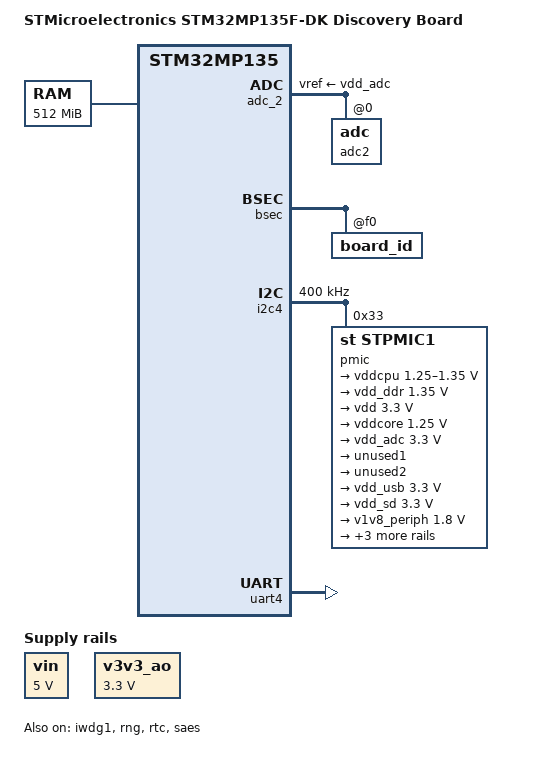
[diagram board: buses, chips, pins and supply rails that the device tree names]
// SPDX-License-Identifier: (GPL-2.0+ OR BSD-3-Clause)
/*
 * Copyright (C) STMicroelectronics 2021-2023 - All Rights Reserved
 * Author: Alexandre Torgue <alexandre.torgue@foss.st.com> for STMicroelectronics.
 */

/dts-v1/;

#include <dt-bindings/clock/stm32mp13-clksrc.h>
#include <dt-bindings/gpio/gpio.h>
#include <dt-bindings/gpio/stm32mp_gpio.h>
#include <dt-bindings/regulator/st,stm32mp13-regulator.h>
#include "stm32mp135.dtsi"
#include "stm32mp13xf.dtsi"
#include "stm32mp13-pinctrl.dtsi"

/ {
	model = "STMicroelectronics STM32MP135F-DK Discovery Board";
	compatible = "st,stm32mp135f-dk", "st,stm32mp135";

	aliases {
		serial0 = &uart4;
		serial1 = &usart1;
	};

	chosen {
		stdout-path = "serial0:115200n8";
	};

	memory@c0000000 {
		device_type = "memory";
		reg = <0xc0000000 0x20000000>;
	};

	reserved-memory {
		#address-cells = <1>;
		#size-cells = <1>;
		ranges;

		optee_framebuffer: optee-framebuffer@dd000000 {
			/* Secure framebuffer memory */
			reg = <0xdd000000 0x1000000>;
			no-map;
		};
	};

	vin: vin {
		compatible = "regulator-fixed";
		regulator-name = "vin";
		regulator-min-microvolt = <5000000>;
		regulator-max-microvolt = <5000000>;
		regulator-always-on;
	};

	v3v3_ao: v3v3_ao {
		compatible = "regulator-fixed";
		regulator-name = "v3v3_ao";
		regulator-min-microvolt = <3300000>;
		regulator-max-microvolt = <3300000>;
		regulator-always-on;
	};
};

&adc_2 {
	vdda-supply = <&vdd_adc>;
	vref-supply = <&vdd_adc>;
	status = "okay";

	adc2: adc@0 {
		status = "okay";

		channel@15 {
			reg = <15>;
			label = "vbat";
		};
	};
};

&bsec {
	board_id: board_id@f0 {
		reg = <0xf0 0x4>;
		st,non-secure-otp;
	};
};

&gpiob {
	st,protreg = <TZPROT(9)>;
};

&gpiod {
	st,protreg = <TZPROT(7)>;
};

&gpioe {
	st,protreg = <TZPROT(15)>;
};

&i2c4 {
	pinctrl-names = "default";
	pinctrl-0 = <&i2c4_pins_a>;
	i2c-scl-rising-time-ns = <185>;
	i2c-scl-falling-time-ns = <20>;
	clock-frequency = <400000>;
	status = "okay";

	pmic: stpmic@33 {
		compatible = "st,stpmic1";
		reg = <0x33>;
		status = "okay";
		st,wakeup-pin-number = <1>;
		st,notif-it-id = <0>;

		regulators {
			compatible = "st,stpmic1-regulators";
			buck1-supply = <&vin>;
			buck2-supply = <&vin>;
			buck3-supply = <&vin>;
			buck4-supply = <&vin>;
			ldo1-supply = <&vin>;
			ldo4-supply = <&vin>;
			ldo5-supply = <&vin>;
			ldo6-supply = <&vin>;
			vref_ddr-supply = <&vin>;
			pwr_sw1-supply = <&bst_out>;
			pwr_sw2-supply = <&v3v3_ao>;

			vddcpu: buck1 {
				regulator-name = "vddcpu";
				regulator-min-microvolt = <1250000>;
				regulator-max-microvolt = <1350000>;
				regulator-always-on;
				regulator-over-current-protection;

				lp-stop {
					regulator-suspend-microvolt = <1250000>;
				};
				lplv-stop {
					regulator-suspend-microvolt = <900000>;
				};
				lplv-stop2 {
					regulator-off-in-suspend;
				};
				standby-ddr-sr {
					regulator-off-in-suspend;
				};
				standby-ddr-off {
					regulator-off-in-suspend;
				};
			};

			vdd_ddr: buck2 {
				regulator-name = "vdd_ddr";
				regulator-min-microvolt = <1350000>;
				regulator-max-microvolt = <1350000>;
				regulator-always-on;
				regulator-over-current-protection;

				standby-ddr-off {
					regulator-off-in-suspend;
				};
			};

			vdd: buck3 {
				regulator-name = "vdd";
				regulator-min-microvolt = <3300000>;
				regulator-max-microvolt = <3300000>;
				regulator-always-on;
				st,mask-reset;
				regulator-over-current-protection;
			};

			vddcore: buck4 {
				regulator-name = "vddcore";
				regulator-min-microvolt = <1250000>;
				regulator-max-microvolt = <1250000>;
				regulator-always-on;
				regulator-over-current-protection;

				lplv-stop {
					regulator-suspend-microvolt = <900000>;
				};
				lplv-stop2 {
					regulator-suspend-microvolt = <900000>;
				};
				standby-ddr-sr {
					regulator-off-in-suspend;
				};
				standby-ddr-off {
					regulator-off-in-suspend;
				};
			};

			vdd_adc: ldo1 {
				regulator-name = "vdd_adc";
				regulator-min-microvolt = <3300000>;
				regulator-max-microvolt = <3300000>;

				standby-ddr-sr {
					regulator-off-in-suspend;
				};
				standby-ddr-off {
					regulator-off-in-suspend;
				};
			};

			unused1: ldo2 {
				regulator-name = "ldo2";
			};

			unused2: ldo3 {
				regulator-name = "ldo3";
			};

			vdd_usb: ldo4 {
				regulator-name = "vdd_usb";
				regulator-min-microvolt = <3300000>;
				regulator-max-microvolt = <3300000>;

				standby-ddr-sr {
					regulator-off-in-suspend;
				};
				standby-ddr-off {
					regulator-off-in-suspend;
				};
			};

			vdd_sd: ldo5 {
				regulator-name = "vdd_sd";
				regulator-min-microvolt = <3300000>;
				regulator-max-microvolt = <3300000>;
				regulator-boot-on;

				standby-ddr-sr {
					regulator-off-in-suspend;
				};
				standby-ddr-off {
					regulator-off-in-suspend;
				};
			};

			v1v8_periph: ldo6 {
				regulator-name = "v1v8_periph";
				regulator-min-microvolt = <1800000>;
				regulator-max-microvolt = <1800000>;

				standby-ddr-sr {
					regulator-off-in-suspend;
				};
				standby-ddr-off {
					regulator-off-in-suspend;
				};
			};

			vref_ddr: vref_ddr {
				regulator-name = "vref_ddr";
				regulator-always-on;

				standby-ddr-sr {
					regulator-off-in-suspend;
				};
				standby-ddr-off {
					regulator-off-in-suspend;
				};
			};

			bst_out: boost {
				regulator-name = "bst_out";
			};

			v3v3_sw: pwr_sw2 {
				regulator-name = "v3v3_sw";
				regulator-active-discharge = <1>;
				regulator-min-microvolt = <3300000>;
				regulator-max-microvolt = <3300000>;
			};
		};
	};
};

&iwdg1 {
	timeout-sec = <32>;
	status = "okay";
};

&oem_enc_key {
	st,non-secure-otp-provisioning;
};

&pwr_regulators {
	vdd-supply = <&vdd>;
	vdd_3v3_usbfs-supply = <&vdd_usb>;
};

&rcc {
	compatible = "st,stm32mp13-rcc", "syscon";

	st,clksrc = <
		CLK_MPU_PLL1P
		CLK_AXI_PLL2P
		CLK_MLAHBS_PLL3
		CLK_RTC_LSE
		CLK_MCO1_HSE
		CLK_MCO2_DISABLED
		CLK_CKPER_HSE
		CLK_ETH1_PLL4P
		CLK_ETH2_PLL4P
		CLK_SDMMC1_PLL4P
		CLK_SDMMC2_PLL4P
		CLK_STGEN_HSE
		CLK_USBPHY_HSE
		CLK_I2C4_HSI
		CLK_I2C5_HSI
		CLK_USBO_USBPHY
		CLK_ADC2_CKPER
		CLK_I2C12_HSI
		CLK_UART1_HSI
		CLK_UART2_HSI
		CLK_UART35_HSI
		CLK_UART4_HSI
		CLK_UART6_HSI
		CLK_UART78_HSI
		CLK_SAES_AXI
		CLK_DCMIPP_PLL2Q
		CLK_LPTIM3_PCLK3
		CLK_RNG1_PLL4R
	>;

	st,clkdiv = <
		DIV(DIV_MPU, 1)
		DIV(DIV_AXI, 0)
		DIV(DIV_MLAHB, 0)
		DIV(DIV_APB1, 1)
		DIV(DIV_APB2, 1)
		DIV(DIV_APB3, 1)
		DIV(DIV_APB4, 1)
		DIV(DIV_APB5, 2)
		DIV(DIV_APB6, 1)
		DIV(DIV_RTC, 0)
		DIV(DIV_MCO1, 0)
		DIV(DIV_MCO2, 0)
	>;

	st,pll_vco {
		pll1_vco_2000Mhz: pll1-vco-2000Mhz {
			src = <CLK_PLL12_HSE>;
			divmn = <1 82>;
			frac = <0xAAA>;
		};

		pll1_vco_1300Mhz: pll1-vco-1300Mhz {
			src = <CLK_PLL12_HSE>;
			divmn = <2 80>;
			frac = <0x800>;
		};

		pll2_vco_1066Mhz: pll2-vco-1066Mhz {
			src = <CLK_PLL12_HSE>;
			divmn = <2 65>;
			frac = <0x1400>;
		};

		pll3_vco_417Mhz: pll3-vco-417Mhz {
			src = <CLK_PLL3_HSE>;
			divmn = <1 33>;
			frac = <0x1a04>;
		};

		pll4_vco_600Mhz: pll4-vco-600Mhz {
			src = <CLK_PLL4_HSE>;
			divmn = <1 49>;
		};
	};

	/* VCO = 1300.0 MHz => P = 650 (CPU) */
	pll1: st,pll@0 {
		compatible = "st,stm32mp1-pll";
		reg = <0>;

		st,pll = <&pll1_cfg1>;

		pll1_cfg1: pll1_cfg1 {
			st,pll_vco = <&pll1_vco_1300Mhz>;
			st,pll_div_pqr = <0 1 1>;
		};

		pll1_cfg2: pll1_cfg2 {
			st,pll_vco = <&pll1_vco_2000Mhz>;
			st,pll_div_pqr = <0 1 1>;
		};
	};

	/* VCO = 1066.0 MHz => P = 266 (AXI), Q = 266, R = 533 (DDR) */
	pll2: st,pll@1 {
		compatible = "st,stm32mp1-pll";
		reg = <1>;

		st,pll = <&pll2_cfg1>;

		pll2_cfg1: pll2_cfg1 {
			st,pll_vco = <&pll2_vco_1066Mhz>;
			st,pll_div_pqr = <1 1 0>;
		};
	};

	/* VCO = 417.8 MHz => P = 209, Q = 24, R = 11 */
	pll3: st,pll@2 {
		compatible = "st,stm32mp1-pll";
		reg = <2>;

		st,pll = <&pll3_cfg1>;

		pll3_cfg1: pll3_cfg1 {
			st,pll_vco = <&pll3_vco_417Mhz>;
			st,pll_div_pqr = <1 16 36>;
		};
	};

	/* VCO = 600.0 MHz => P = 50, Q = 10, R = 50 */
	pll4: st,pll@3 {
		compatible = "st,stm32mp1-pll";
		reg = <3>;
		st,pll = <&pll4_cfg1>;

		pll4_cfg1: pll4_cfg1 {
			st,pll_vco = <&pll4_vco_600Mhz>;
			st,pll_div_pqr = <11 59 11>;
		};
	};

	st,clk_opp {
		/* CK_MPU clock config for MP13 */
		st,ck_mpu {

			cfg_1 {
				hz = <650000000>;
				st,clksrc = <CLK_MPU_PLL1P>;
				st,pll = <&pll1_cfg1>;
			};

			cfg_2 {
				hz = <1000000000>;
				st,clksrc = <CLK_MPU_PLL1P>;
				st,pll = <&pll1_cfg2>;
			};
		};
	};
};

&rng {
	status = "okay";
	clock-error-detect;
};

&rtc {
	status = "okay";
};

&saes {
	status = "okay";
};

&sdmmc1_io {
	vddsd1-supply = <&vdd>;
};

&sdmmc2_io {
	vddsd2-supply = <&vdd>;
};

&uart4 {
	pinctrl-names = "default";
	pinctrl-0 = <&uart4_pins_a>;
	status = "okay";
};

&usart1 {
	pinctrl-names = "default";
	pinctrl-0 = <&usart1_pins_a>;
	uart-has-rtscts;
	status = "disabled";
};
